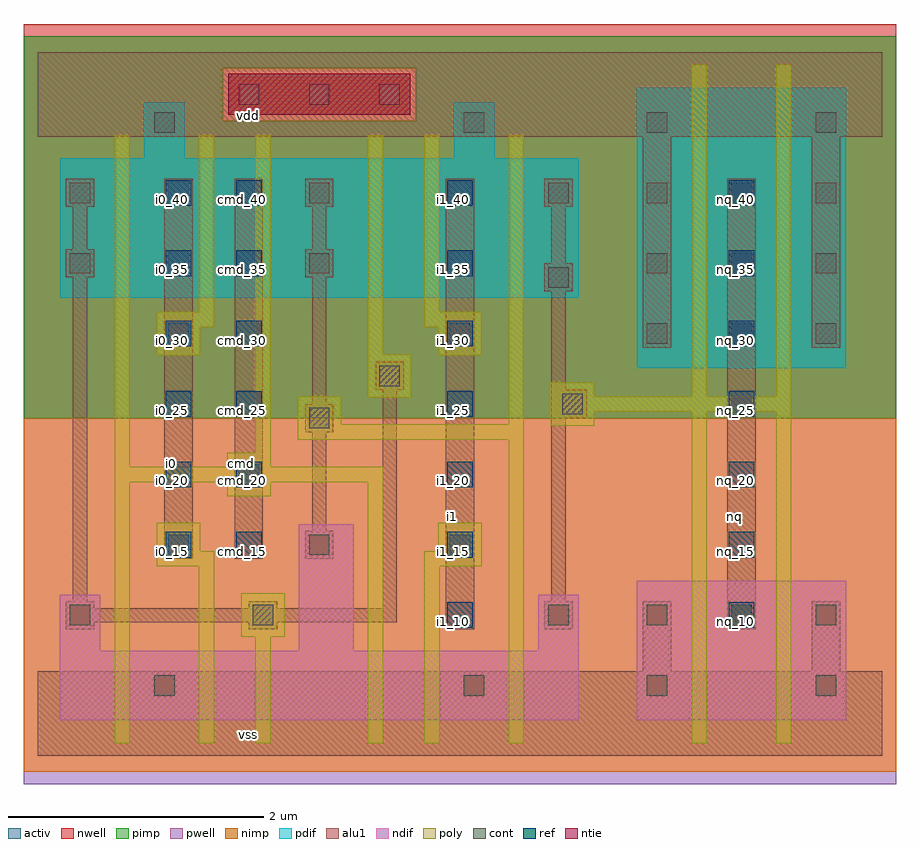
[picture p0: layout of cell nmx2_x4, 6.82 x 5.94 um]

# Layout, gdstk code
import gdstk
lib = gdstk.Library(unit=1e-6, precision=2.5e-09)
def R(c, l, rs):  # rectangles x0, y0, x1, y1
    for r in rs: c.add(gdstk.rectangle(r[:2], r[2:], *l))
def A(c, l, x, y, w, h, nx, ny, dx, dy):  # array of equal rectangles
    R(c, l, [(x+i*dx, y+j*dy, x+i*dx+w, y+j*dy+h) for i in range(nx) for j in range(ny)])
ndif = (3, 0)
pdif = (4, 0)
ntie = (5, 0)
ref = (24, 0)
cont = (25, 0)
pwell = (41, 0)
nwell = (42, 0)
activ = (43, 0)
pimp = (44, 0)
nimp = (45, 0)
poly = (46, 0)
alu1 = (49, 0)

nmx2_x4 = lib.new_cell('nmx2_x4')
R(nmx2_x4, ndif, [(0.17,0.28,4.23,0.82), (0.17,0.28,4.23,0.82), (4.68,0.28,6.32,1.37), (4.68,0.28,6.32,1.37), (0.17,0.82,0.49,1.26), (0.17,0.82,0.49,1.26), (2.04,0.82,2.47,1.81), (2.04,0.82,2.47,1.81), (3.91,0.82,4.23,1.26), (3.91,0.82,4.23,1.26)])
R(nmx2_x4, pdif, [(4.68,3.03,6.32,5.22), (4.68,3.03,6.32,5.22), (0.17,3.58,4.23,4.67), (0.17,3.58,4.23,4.67), (0.83,4.67,1.15,5.11), (0.83,4.67,1.15,5.11), (3.25,4.67,3.57,5.11), (3.25,4.67,3.57,5.11)])
R(nmx2_x4, ntie, [(1.49,5.01,2.91,5.33), (1.49,5.01,2.91,5.33)])
A(nmx2_x4, ref, 3.2, 1, 0.2, 0.2, 1, 7, 0, 0.55)
A(nmx2_x4, ref, 5.4, 1, 0.2, 0.2, 1, 7, 0, 0.55)
A(nmx2_x4, ref, 1, 1.55, 0.2, 0.2, 1, 6, 0, 0.55)
A(nmx2_x4, ref, 1.55, 1.55, 0.2, 0.2, 1, 6, 0, 0.55)
A(nmx2_x4, cont, 4.76, 1.02, 0.16, 0.16, 3, 2, 0.66, 2.2)
A(nmx2_x4, cont, 1.02, 1.57, 0.16, 0.16, 3, 1, 1.1, 0)
A(nmx2_x4, cont, 4.76, 3.77, 0.16, 0.16, 3, 2, 0.66, 0.55)
A(nmx2_x4, cont, 0.25, 4.32, 0.16, 0.16, 3, 1, 1.87, 0)
A(nmx2_x4, cont, 1.57, 5.09, 0.16, 0.16, 3, 1, 0.55, 0)
R(nmx2_x4, cont, [(0.91,0.47,1.07,0.63), (3.33,0.47,3.49,0.63), (4.76,0.47,4.92,0.63), (6.08,0.47,6.24,0.63), (0.25,1.02,0.41,1.18), (1.68,1.02,1.84,1.18), (3.99,1.02,4.15,1.18), (1.57,2.12,1.73,2.28), (2.12,2.56,2.28,2.72), (4.1,2.67,4.26,2.83), (2.67,2.89,2.83,3.05), (1.02,3.22,1.18,3.38), (3.22,3.22,3.38,3.38), (3.99,3.66,4.15,3.82), (0.25,3.77,0.41,3.93), (2.12,3.77,2.28,3.93), (0.91,4.87,1.07,5.03), (3.33,4.87,3.49,5.03), (4.76,4.87,4.92,5.03), (6.08,4.87,6.24,5.03)])
R(nmx2_x4, pwell, [(-0.11,-0.22,6.71,2.64)])
R(nmx2_x4, nwell, [(-0.11,2.64,6.71,5.72)])
R(nmx2_x4, activ, [(0.17,0.28,4.23,0.82), (0.17,0.28,4.23,0.82), (4.68,0.28,6.32,1.37), (4.68,0.28,6.32,1.37), (0.17,0.82,0.49,1.26), (0.17,0.82,0.49,1.26), (2.04,0.82,2.47,1.81), (2.04,0.82,2.47,1.81), (3.91,0.82,4.23,1.26), (3.91,0.82,4.23,1.26), (4.68,3.03,6.32,5.22), (4.68,3.03,6.32,5.22), (0.17,3.58,4.23,4.67), (0.17,3.58,4.23,4.67), (0.83,4.67,1.15,5.11), (0.83,4.67,1.15,5.11), (3.25,4.67,3.57,5.11), (3.25,4.67,3.57,5.11), (1.49,5.01,2.91,5.33), (1.49,5.01,2.91,5.33)])
R(nmx2_x4, pimp, [(-0.11,2.64,6.71,4.965), (-0.11,4.965,1.445,5.375), (2.955,4.965,6.71,5.375), (-0.11,5.375,6.71,5.625)])
R(nmx2_x4, nimp, [(-0.11,-0.125,6.71,2.64), (1.445,4.965,2.955,5.375)])
R(nmx2_x4, poly, [(0.6,0.1,0.72,2.14), (1.26,0.1,1.38,1.48), (1.7,0.1,1.82,0.93), (2.58,0.1,2.7,2.14), (3.02,0.1,3.14,1.48), (3.68,0.1,3.8,2.47), (5.11,0.1,5.23,2.69), (5.77,0.1,5.89,2.69), (1.59,0.93,1.93,1.27), (0.93,1.48,1.38,1.6), (3.02,1.48,3.47,1.6), (0.93,1.6,1.27,1.82), (3.13,1.6,3.47,1.82), (1.48,2.03,1.82,2.14), (0.6,2.14,2.7,2.26), (0.6,2.26,0.72,4.85), (1.48,2.26,1.82,2.37), (1.7,2.37,1.82,4.85), (2.03,2.47,3.8,2.59), (4.01,2.58,4.35,2.69), (2.03,2.59,2.37,2.81), (3.68,2.59,3.8,4.85), (4.01,2.69,5.89,2.81), (2.58,2.8,2.92,3.14), (4.01,2.81,4.35,2.92), (5.11,2.81,5.23,5.4), (5.77,2.81,5.89,5.4), (0.93,3.13,1.27,3.35), (3.13,3.13,3.47,3.35), (2.58,3.14,2.7,4.85), (0.93,3.35,1.38,3.47), (3.02,3.35,3.47,3.47), (1.26,3.47,1.38,4.85), (3.02,3.47,3.14,4.85)])
A(nmx2_x4, alu1, 0.22, 4.29, 0.22, 0.22, 3, 1, 1.87, 0)
R(nmx2_x4, alu1, [(0,0,6.6,0.66), (4.73,0.66,4.95,1.21), (6.05,0.66,6.27,1.21), (0.22,0.99,0.44,1.045), (1.65,0.99,1.87,1.045), (3.19,0.99,3.41,4.51), (3.96,0.99,4.18,1.21), (5.39,0.99,5.61,4.51), (0.22,1.045,2.805,1.155), (0.22,1.155,0.44,1.21), (1.65,1.155,1.87,1.21), (2.695,1.155,2.805,2.86), (0.275,1.21,0.385,3.74), (4.015,1.21,4.125,2.64), (0.99,1.54,1.21,4.51), (1.54,1.54,1.76,4.51), (2.09,1.54,2.31,1.76), (2.145,1.76,2.255,2.53), (2.09,2.53,2.31,2.75), (4.015,2.64,4.29,2.86), (2.145,2.75,2.255,3.74), (2.64,2.86,2.86,3.08), (4.015,2.86,4.125,3.63), (4.73,3.19,4.95,4.84), (6.05,3.19,6.27,4.84), (3.96,3.63,4.18,3.85), (0.22,3.74,0.44,3.96), (2.09,3.74,2.31,3.96), (4.015,3.85,4.125,4.29), (0.275,3.96,0.385,4.29), (2.145,3.96,2.255,4.29), (0,4.84,6.6,5.5)])
nmx2_x4.add(gdstk.Label('vss', (1.65,0.165), layer=49, texttype=0))
nmx2_x4.add(gdstk.Label('nq', (5.445,1.87), layer=49, texttype=0))
nmx2_x4.add(gdstk.Label('i1', (3.245,1.87), layer=49, texttype=0))
nmx2_x4.add(gdstk.Label('cmd', (1.595,2.2825), layer=49, texttype=0))
nmx2_x4.add(gdstk.Label('i0', (1.045,2.2825), layer=49, texttype=0))
nmx2_x4.add(gdstk.Label('vdd', (1.65,5.005), layer=49, texttype=0))
nmx2_x4.add(gdstk.Label('i1_40', (3.25,4.35), layer=24, texttype=0))
nmx2_x4.add(gdstk.Label('i1_35', (3.25,3.8), layer=24, texttype=0))
nmx2_x4.add(gdstk.Label('i1_30', (3.25,3.25), layer=24, texttype=0))
nmx2_x4.add(gdstk.Label('i1_25', (3.25,2.7), layer=24, texttype=0))
nmx2_x4.add(gdstk.Label('i1_20', (3.25,2.15), layer=24, texttype=0))
nmx2_x4.add(gdstk.Label('i1_15', (3.25,1.6), layer=24, texttype=0))
nmx2_x4.add(gdstk.Label('i1_10', (3.25,1.05), layer=24, texttype=0))
nmx2_x4.add(gdstk.Label('i0_40', (1.05,4.35), layer=24, texttype=0))
nmx2_x4.add(gdstk.Label('i0_35', (1.05,3.8), layer=24, texttype=0))
nmx2_x4.add(gdstk.Label('i0_30', (1.05,3.25), layer=24, texttype=0))
nmx2_x4.add(gdstk.Label('i0_25', (1.05,2.7), layer=24, texttype=0))
nmx2_x4.add(gdstk.Label('i0_20', (1.05,2.15), layer=24, texttype=0))
nmx2_x4.add(gdstk.Label('i0_15', (1.05,1.6), layer=24, texttype=0))
nmx2_x4.add(gdstk.Label('cmd_40', (1.6,4.35), layer=24, texttype=0))
nmx2_x4.add(gdstk.Label('cmd_35', (1.6,3.8), layer=24, texttype=0))
nmx2_x4.add(gdstk.Label('cmd_30', (1.6,3.25), layer=24, texttype=0))
nmx2_x4.add(gdstk.Label('cmd_25', (1.6,2.7), layer=24, texttype=0))
nmx2_x4.add(gdstk.Label('cmd_20', (1.6,2.15), layer=24, texttype=0))
nmx2_x4.add(gdstk.Label('cmd_15', (1.6,1.6), layer=24, texttype=0))
nmx2_x4.add(gdstk.Label('nq_40', (5.45,4.35), layer=24, texttype=0))
nmx2_x4.add(gdstk.Label('nq_35', (5.45,3.8), layer=24, texttype=0))
nmx2_x4.add(gdstk.Label('nq_25', (5.45,2.7), layer=24, texttype=0))
nmx2_x4.add(gdstk.Label('nq_10', (5.45,1.05), layer=24, texttype=0))
nmx2_x4.add(gdstk.Label('nq_30', (5.45,3.25), layer=24, texttype=0))
nmx2_x4.add(gdstk.Label('nq_20', (5.45,2.15), layer=24, texttype=0))
nmx2_x4.add(gdstk.Label('nq_15', (5.45,1.6), layer=24, texttype=0))

lib.write_gds('nmx2_x4.gds')
